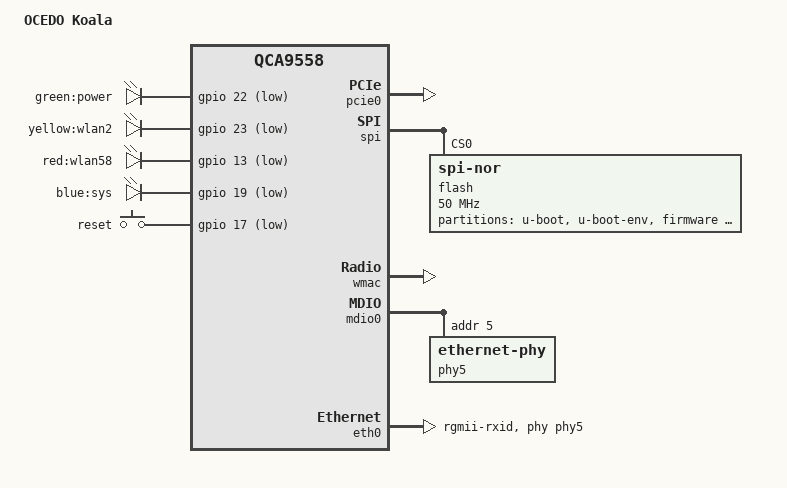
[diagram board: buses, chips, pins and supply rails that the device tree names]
// SPDX-License-Identifier: GPL-2.0-or-later OR MIT

#include "qca955x.dtsi"

#include <dt-bindings/gpio/gpio.h>
#include <dt-bindings/input/input.h>

/ {
	compatible = "ocedo,koala", "qca,qca9558";
	model = "OCEDO Koala";

	aliases {
		led-boot = &led_system;
		led-failsafe = &led_system;
		led-running = &led_system;
		led-upgrade = &led_system;
		label-mac-device = &eth0;
	};

	leds {
		compatible = "gpio-leds";

		power {
			label = "green:power";
			gpios = <&gpio 22 GPIO_ACTIVE_LOW>;
			default-state = "on";
		};

		wifi2 {
			label = "yellow:wlan2";
			gpios = <&gpio 23 GPIO_ACTIVE_LOW>;
			linux,default-trigger = "phy1tpt";
		};

		wifi5 {
			label = "red:wlan58";
			gpios = <&gpio 13 GPIO_ACTIVE_LOW>;
			linux,default-trigger = "phy0tpt";
		};

		led_system: system {
			label = "blue:sys";
			gpios = <&gpio 19 GPIO_ACTIVE_LOW>;
		};
	};

	keys {
		compatible = "gpio-keys";

		reset {
			label = "reset";
			linux,code = <KEY_RESTART>;
			gpios = <&gpio 17 GPIO_ACTIVE_LOW>;
		};
	};
};

&pcie0 {
	status = "okay";
};

&pll {
	clocks = <&extosc>;
};

&spi {
	status = "okay";

	flash@0 {
		compatible = "jedec,spi-nor";
		reg = <0>;
		spi-max-frequency = <50000000>;

		partitions {
			compatible = "fixed-partitions";
			#address-cells = <1>;
			#size-cells = <1>;

			uboot: partition@0 {
				label = "u-boot";
				reg = <0x000000 0x040000>;
				read-only;
			};

			partition@40000 {
				label = "u-boot-env";
				reg = <0x040000 0x010000>;
			};

			partition@50000 {
				compatible = "denx,uimage";
				label = "firmware";
				reg = <0x050000 0x740000>;
			};

			partition@790000 {
				label = "vendor";
				reg = <0x790000 0x740000>;
				read-only;
			};

			partition@ed0000 {
				label = "data";
				reg = <0xed0000 0x110000>;
				read-only;
			};

			partition@fe0000 {
				label = "id";
				reg = <0xfe0000 0x010000>;
				read-only;
			};

			art: partition@ff0000 {
				label = "art";
				reg = <0xff0000 0x010000>;
				read-only;
			};
		};
	};
};

&wmac {
	status = "okay";

	mtd-cal-data = <&art 0x1000>;
	mtd-mac-address = <&art 0x06>;
};

&mdio0 {
	status = "okay";

	phy5: ethernet-phy@5 {
		reg = <5>;
		eee-broken-100tx;
		eee-broken-1000t;
	};
};

&eth0 {
	status = "okay";

	mtd-mac-address = <&art 0x00>;

	phy-handle = <&phy5>;
	phy-mode = "rgmii-rxid";

	pll-data = <0x8e000000 0x80000101 0x80001313>;
};
